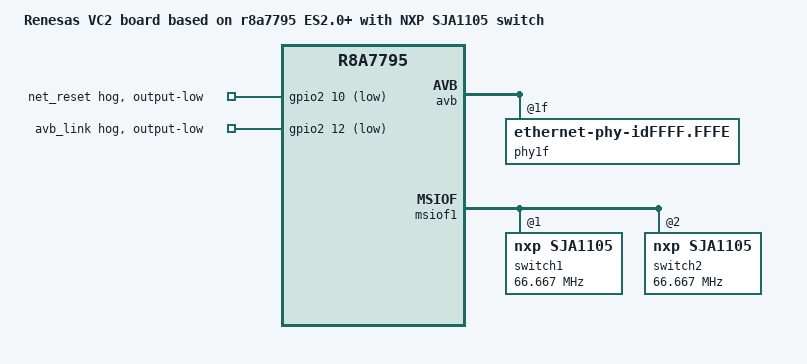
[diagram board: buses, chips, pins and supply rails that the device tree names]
/*
 * Device Tree Source for the H3VC2 (R-Car VehicleCompute2) board
 *
 * Copyright (C) 2018 Renesas Electronics Corp.
 * Copyright (C) 2018 Cogent Embedded, Inc.
 *
 * This file is licensed under the terms of the GNU General Public License
 * version 2.  This program is licensed "as is" without any warranty of any
 * kind, whether express or implied.
 */

/dts-v1/;
#include "r8a7795-cetibox-h3vc2.dtsi"

/ {
	model = "Renesas VC2 board based on r8a7795 ES2.0+ with NXP SJA1105 switch";
	compatible ="cetitec,h3-vc2-v3", "renesas,h3vc2", "renesas,r8a7795";
};

&avb {
	phy1f: dummy_phy {
		compatible = "ethernet-phy-idFFFF.FFFE";
		reg = <0x1f>;
		speed = <1000>;
	};

	phy1: ksz8091rnb {
		reg = <5>;
		speed = <100>;
	};

	phy2: ksz9031rnx {
		reg = <6>;
		speed = <1000>;
	};
};

&gpio2 {
	net_reset {
		gpio-hog;
		gpios = <10 GPIO_ACTIVE_LOW>;
		output-low;
	};
	avb_link {
		gpio-hog;
		gpios = <12 GPIO_ACTIVE_LOW>;
		output-low;
	};
};

&msiof1 {
	/* Ethernet switch 1, configured by userspace. */
	switch1: spidev@1 {
		compatible = "nxp,sja1105";
		reg = <1>;
		spi-max-frequency = <66666666>;
		spi-cpha;
		renesas,dtdl = <200>;
		renesas,syncdl = <300>;

		phy-handles = <&phy1 1>, <&phy2 0>;
		phy-modes = "rmii", "rgmii";

		sja-host-port = <&avb 3>;
		sja-cascade-port = <&switch2 2>;
	};

	/* Ethernet switch 2, configured by userspace. */
	switch2: spidev@2 {
		compatible = "nxp,sja1105";
		reg = <2>;
		spi-max-frequency = <66666666>;
		spi-cpha;
		renesas,dtdl = <200>;
		renesas,syncdl = <300>;

		sja-host-port = <&switch1 4>;
	};
};
